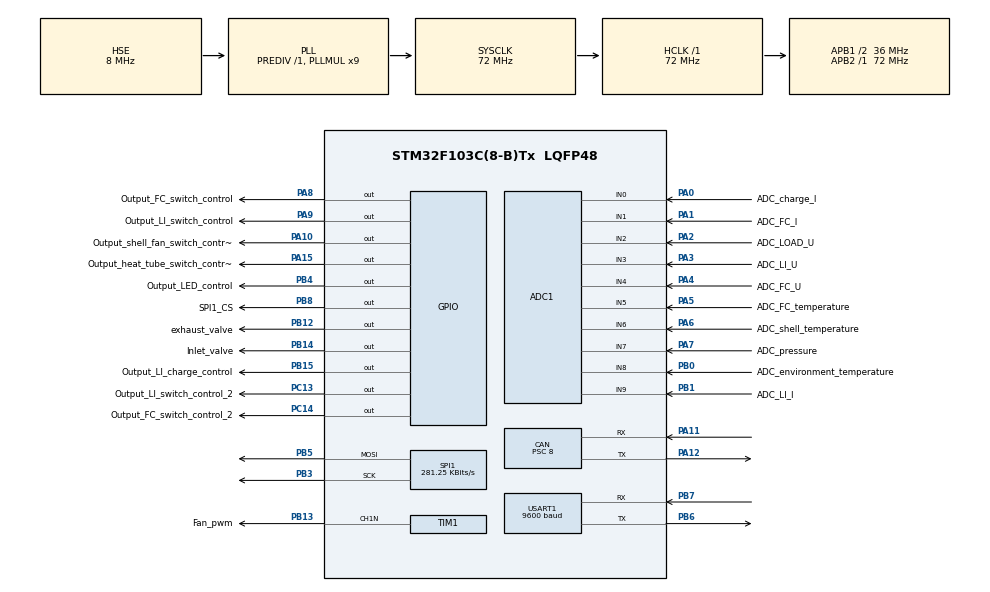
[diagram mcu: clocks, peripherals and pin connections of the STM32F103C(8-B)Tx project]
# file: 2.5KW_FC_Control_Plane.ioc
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ADC1.Channel-0\#ChannelRegularConversion=ADC_CHANNEL_0
ADC1.Channel-1\#ChannelRegularConversion=ADC_CHANNEL_1
ADC1.Channel-2\#ChannelRegularConversion=ADC_CHANNEL_2
ADC1.Channel-3\#ChannelRegularConversion=ADC_CHANNEL_3
ADC1.Channel-4\#ChannelRegularConversion=ADC_CHANNEL_4
ADC1.Channel-5\#ChannelRegularConversion=ADC_CHANNEL_5
ADC1.Channel-6\#ChannelRegularConversion=ADC_CHANNEL_6
ADC1.Channel-7\#ChannelRegularConversion=ADC_CHANNEL_7
ADC1.Channel-8\#ChannelRegularConversion=ADC_CHANNEL_8
ADC1.Channel-9\#ChannelRegularConversion=ADC_CHANNEL_9
ADC1.DataAlign=ADC_DATAALIGN_RIGHT
ADC1.DiscontinuousConvMode=ENABLE
ADC1.NbrOfConversion=10
ADC1.NbrOfConversionFlag=1
ADC1.Rank-0\#ChannelRegularConversion=1
ADC1.Rank-1\#ChannelRegularConversion=2
ADC1.Rank-2\#ChannelRegularConversion=3
ADC1.Rank-3\#ChannelRegularConversion=4
ADC1.Rank-4\#ChannelRegularConversion=5
ADC1.Rank-5\#ChannelRegularConversion=6
ADC1.Rank-6\#ChannelRegularConversion=7
ADC1.Rank-7\#ChannelRegularConversion=8
ADC1.Rank-8\#ChannelRegularConversion=9
ADC1.Rank-9\#ChannelRegularConversion=10
ADC1.SamplingTime-0\#ChannelRegularConversion=ADC_SAMPLETIME_239CYCLES_5
ADC1.SamplingTime-1\#ChannelRegularConversion=ADC_SAMPLETIME_239CYCLES_5
ADC1.SamplingTime-2\#ChannelRegularConversion=ADC_SAMPLETIME_239CYCLES_5
ADC1.SamplingTime-3\#ChannelRegularConversion=ADC_SAMPLETIME_239CYCLES_5
ADC1.SamplingTime-4\#ChannelRegularConversion=ADC_SAMPLETIME_239CYCLES_5
ADC1.SamplingTime-5\#ChannelRegularConversion=ADC_SAMPLETIME_239CYCLES_5
ADC1.SamplingTime-6\#ChannelRegularConversion=ADC_SAMPLETIME_239CYCLES_5
ADC1.SamplingTime-7\#ChannelRegularConversion=ADC_SAMPLETIME_239CYCLES_5
ADC1.SamplingTime-8\#ChannelRegularConversion=ADC_SAMPLETIME_239CYCLES_5
ADC1.SamplingTime-9\#ChannelRegularConversion=ADC_SAMPLETIME_239CYCLES_5
ADC1.master=1
CAN.ABOM=DISABLE
CAN.AWUM=DISABLE
CAN.BS1=CAN_BS1_9TQ
CAN.BS2=CAN_BS2_8TQ
CAN.CalculateTimeBit=4000
CAN.CalculateTimeQuantum=222.22222222222223
CAN.NART=ENABLE
CAN.Prescaler=8
CAN.RFLM=DISABLE
CAN.TTCM=DISABLE
CAN.TXFP=DISABLE
Mcu.Family=STM32F1
Mcu.Name=STM32F103C(8-B)Tx
Mcu.Package=LQFP48
NVIC.PriorityGroup=NVIC_PRIORITYGROUP_4
NVIC.TIM2_IRQn=true\:0\:0\:false\:false\:true\:true
NVIC.USART1_IRQn=true\:0\:0\:false\:false\:true\:true
PA0-WKUP.GPIO_Label=ADC_charge_I
PA0-WKUP.Signal=ADCx_IN0
PA1.GPIO_Label=ADC_FC_I
PA1.Signal=ADCx_IN1
PA10.GPIO_Label=Output_shell_fan_switch_control
PA10.Signal=GPIO_Output
PA11.Mode=Master
PA11.Signal=CAN_RX
PA12.Mode=Master
PA12.Signal=CAN_TX
PA13.Mode=Serial_Wire
PA13.Signal=SYS_JTMS-SWDIO
PA14.Mode=Serial_Wire
PA14.Signal=SYS_JTCK-SWCLK
PA15.GPIO_Label=Output_heat_tube_switch_control
PA15.Signal=GPIO_Output
PA2.GPIO_Label=ADC_LOAD_U
PA2.Signal=ADCx_IN2
PA3.GPIO_Label=ADC_LI_U
PA3.Signal=ADCx_IN3
PA4.GPIO_Label=ADC_FC_U
PA4.Signal=ADCx_IN4
PA5.GPIO_Label=ADC_FC_temperature
PA5.Signal=ADCx_IN5
PA6.GPIO_Label=ADC_shell_temperature
PA6.Signal=ADCx_IN6
PA7.GPIO_Label=ADC_pressure
PA7.Signal=ADCx_IN7
PA8.GPIO_Label=Output_FC_switch_control
PA8.Signal=GPIO_Output
PA9.GPIO_Label=Output_LI_switch_control
PA9.Signal=GPIO_Output
PB0.GPIO_Label=ADC_environment_temperature
PB0.Signal=ADCx_IN8
PB1.GPIO_Label=ADC_LI_I
PB1.Signal=ADCx_IN9
PB12.GPIO_Label=exhaust_valve
PB12.Signal=GPIO_Output
PB13.GPIO_Label=Fan_pwm
PB13.GPIO_Speed=GPIO_SPEED_FREQ_HIGH
PB13.Mode=PWM Generation1 CH1N
PB13.Signal=TIM1_CH1N
PB14.GPIO_Label=Inlet_valve
PB14.Signal=GPIO_Output
PB15.GPIO_Label=Output_LI_charge_control
PB15.Signal=GPIO_Output
PB3.Mode=TX_Only_Simplex_Unidirect_Master
PB3.Signal=SPI1_SCK
PB4.GPIO_Label=Output_LED_control
PB4.Signal=GPIO_Output
PB5.Mode=TX_Only_Simplex_Unidirect_Master
PB5.Signal=SPI1_MOSI
PB6.Mode=Asynchronous
PB6.Signal=USART1_TX
PB7.Mode=Asynchronous
PB7.Signal=USART1_RX
PB8.GPIO_Label=SPI1_CS
PB8.Signal=GPIO_Output
PC13-TAMPER-RTC.GPIO_Label=Output_LI_switch_control_2
PC13-TAMPER-RTC.Signal=GPIO_Output
PC14-OSC32_IN.GPIO_Label=Output_FC_switch_control_2
PC14-OSC32_IN.Signal=GPIO_Output
PD0-OSC_IN.Mode=HSE-External-Oscillator
PD0-OSC_IN.Signal=RCC_OSC_IN
PD1-OSC_OUT.Mode=HSE-External-Oscillator
PD1-OSC_OUT.Signal=RCC_OSC_OUT
ProjectManager.HeapSize=0x200
ProjectManager.StackSize=0x400
ProjectManager.TargetToolchain=MDK-ARM V5
RCC.ADCPresc=RCC_ADCPCLK2_DIV6
RCC.AHBFreq_Value=72000000
RCC.APB1CLKDivider=RCC_HCLK_DIV2
RCC.APB1Freq_Value=36000000
RCC.APB1TimFreq_Value=72000000
RCC.APB2Freq_Value=72000000
RCC.APB2TimFreq_Value=72000000
RCC.HCLKFreq_Value=72000000
RCC.PLLMUL=RCC_PLL_MUL9
RCC.PLLSourceVirtual=RCC_PLLSOURCE_HSE
RCC.PREFETCH_ENABLE=1
RCC.SYSCLKFreq_VALUE=72000000
RCC.SYSCLKSource=RCC_SYSCLKSOURCE_PLLCLK
RCC.USBFreq_Value=72000000
SH.ADCx_IN0.0=ADC1_IN0,IN0
SH.ADCx_IN1.0=ADC1_IN1,IN1
SH.ADCx_IN2.0=ADC1_IN2,IN2
SH.ADCx_IN3.0=ADC1_IN3,IN3
SH.ADCx_IN4.0=ADC1_IN4,IN4
SH.ADCx_IN5.0=ADC1_IN5,IN5
SH.ADCx_IN6.0=ADC1_IN6,IN6
SH.ADCx_IN7.0=ADC1_IN7,IN7
SH.ADCx_IN8.0=ADC1_IN8,IN8
SH.ADCx_IN9.0=ADC1_IN9,IN9
SPI1.BaudRatePrescaler=SPI_BAUDRATEPRESCALER_256
SPI1.CalculateBaudRate=281.25 KBits/s
SPI1.Direction=SPI_DIRECTION_2LINES
SPI1.FirstBit=SPI_FIRSTBIT_MSB
SPI1.Mode=SPI_MODE_MASTER
SPI1.VirtualType=VM_MASTER
TIM1.AutoReloadPreload=TIM_AUTORELOAD_PRELOAD_ENABLE
TIM1.Channel-PWM\ Generation1\ CH1N=TIM_CHANNEL_1
TIM1.OCMode_PWM-PWM\ Generation1\ CH1N=TIM_OCMODE_PWM2
TIM1.OCNPolarity_1=TIM_OCNPOLARITY_HIGH
TIM1.Period=99
TIM1.Prescaler=35
TIM1.TIM_MasterOutputTrigger=TIM_TRGO_OC1REF
TIM2.AutoReloadPreload=TIM_AUTORELOAD_PRELOAD_ENABLE
TIM2.Period=999
TIM2.Prescaler=71
USART1.BaudRate=9600
USART1.VirtualMode=VM_ASYNC
VP_TIM2_VS_ClockSourceINT.Mode=Internal
board=custom

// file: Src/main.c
/* USER CODE BEGIN Header */
/**
  ******************************************************************************
  * @file           : main.c
  * @brief          : Main program body
  ******************************************************************************
  ** This notice applies to any and all portions of this file
  * that are not between comment pairs USER CODE BEGIN and
  * USER CODE END. Other portions of this file, whether
  * inserted by the user or by software development tools
  * are owned by their respective copyright owners.
  *
  * COPYRIGHT(c) 2019 STMicroelectronics
  *
  * Redistribution and use in source and binary forms, with or without modification,
  * are permitted provided that the following conditions are met:
  *   1. Redistributions of source code must retain the above copyright notice,
  *      this list of conditions and the following disclaimer.
  *   2. Redistributions in binary form must reproduce the above copyright notice,
  *      this list of conditions and the following disclaimer in the documentation
  *      and/or other materials provided with the distribution.
  *   3. Neither the name of STMicroelectronics nor the names of its contributors
  *      may be used to endorse or promote products derived from this software
  *      without specific prior written permission.
  *
  * THIS SOFTWARE IS PROVIDED BY THE COPYRIGHT HOLDERS AND CONTRIBUTORS "AS IS"
  * AND ANY EXPRESS OR IMPLIED WARRANTIES, INCLUDING, BUT NOT LIMITED TO, THE
  * IMPLIED WARRANTIES OF MERCHANTABILITY AND FITNESS FOR A PARTICULAR PURPOSE ARE
  * DISCLAIMED. IN NO EVENT SHALL THE COPYRIGHT HOLDER OR CONTRIBUTORS BE LIABLE
  * FOR ANY DIRECT, INDIRECT, INCIDENTAL, SPECIAL, EXEMPLARY, OR CONSEQUENTIAL
  * DAMAGES (INCLUDING, BUT NOT LIMITED TO, PROCUREMENT OF SUBSTITUTE GOODS OR
  * SERVICES; LOSS OF USE, DATA, OR PROFITS; OR BUSINESS INTERRUPTION) HOWEVER
  * CAUSED AND ON ANY THEORY OF LIABILITY, WHETHER IN CONTRACT, STRICT LIABILITY,
  * OR TORT (INCLUDING NEGLIGENCE OR OTHERWISE) ARISING IN ANY WAY OUT OF THE USE
  * OF THIS SOFTWARE, EVEN IF ADVISED OF THE POSSIBILITY OF SUCH DAMAGE.
  *
  ******************************************************************************
  */
/* USER CODE END Header */

#include "main.h"
#include "adc.h"
#include "can.h"
#include "spi.h"
#include "tim.h"
#include "usart.h"
#include "gpio.h"

/* USER CODE BEGIN PD */

volatile  uint16_t temperature;                      //FC温度
uint8_t	  FC_Start_flag;          				     //FC启停标志
uint16_t  FC_I;                 				     //FC电流
uint16_t  FC_U;                 				     //FC电压
uint32_t  Load_power;                                //负载功率
uint16_t  LI_I;                 				     //LI电流
uint16_t  LI_U;                 				     //LI电压
uint16_t  LI_charge_I;                 				 //LI充电电流
uint16_t  LOAD_U;                                    //负载电压
uint16_t  FC_pressure;                 				 //FC进气压力
uint16_t  gas_cylinder_pressure;					 //气瓶压力
uint16_t  shell_temperature;                         //外壳温度
float     environment_temperature;                   //环境温度
uint16_t  temperature_record[TEMPERATURE_NUMBER];    //每秒温度记录
uint8_t   Exhaust_valves_flag;   					 //开启排气标志; 置1:进入排气;  置0：不需要排气
uint8_t   Exhaust_status;       				     //排气阀开关状态
uint8_t   Inlet_valves_flag;     					 //开启进气阀标志: 置1:需打开进气;  置0：不需要打开
uint16_t  temperature_counter;						 //温度计数器(最大计数655.35秒)
float     electricity_counter;  					 //电流计数器
float     ntc_R;                                     //热敏电阻值（型号3950）
float     shell_ntc_R;                               //热敏电阻值（型号3950）
uint16_t  communication_counter;					 //通讯计数器
uint16_t  pretemperature_counter;					 //上一温度计数器
uint16_t  pretemperature;       					 //记录上一次温度 5s更新一次
uint16_t  mbtemperature;       						 //目标温度
uint16_t  temperature_rate;    						 //升温速率
uint16_t  Exhaust_valves_counter; 					 //排气阀间隔计数器
uint16_t  FC_Start_exhaust_counter;					 //FC开机排气计数器
uint32_t  Exhaust_specific_counter;					 //排气阀特殊计数器（定时一段时间内强排几秒）
uint8_t   PWM_VAL;               					 //风扇转速百分比
uint8_t   temperature_tendency; 					 //温度走势 1:升温; 0:降温或稳定
uint8_t   FC_Start_exhaust_flag;                     //1：电堆开机正在排气标志  0：表示未处于开机排气状态
uint8_t   aTxStartMessages[] = "\r\n******UART commucition using IT******\r\nPlease enter 10 characters:\r\n";
uint8_t   aRxBuffer[20];
uint8_t   ready_to_go;								 //检测系统是否正常 正常：1  异常：2

/* USER CODE END PD */

/* USER CODE BEGIN PV */

/**************************************************************************************
* Variable definition
**************************************************************************************/
void Task_USART1_Printf(void)
{

	printf("****************BEGIN LINE********************\r\n");

	  printf("temperature = %.2f ℃ \r\n",(float)temperature*0.01);
	  printf("mbtemperature = %.2f ℃ \r\n",(float)mbtemperature*0.01);
	  printf("PWM_VAL = %d \r\n",PWM_VAL);
	  printf("environment_temperature = %.2f ℃ \r\n",environment_temperature);
	  printf("shell_temperaturen = %.2f ℃ \r\n",(float)shell_temperature*0.01);
	  printf("FC_U = %.2f V \r\n",(float)FC_U*0.01);
	  printf("FC_I = %.2f A \r\n",(float)FC_I*0.01);
	  printf("LI_U = %.2f V \r\n",(float)LI_U*0.01);
	  printf("LI_I = %.2f A \r\n",(float)LI_I*0.01);
	  printf("LOAD_U = %.2f V \r\n",(float)LOAD_U*0.01);
	  printf("charge_I = %.2f A \r\n",(float)LI_charge_I*0.01);
	  printf("FC_power = %.2f W \r\n",(float)(FC_U*FC_I)*0.0001);
	  printf("gas_cilinder_pressure = %d MPa \r\n",gas_cylinder_pressure);
	  printf("Exhaust_specific_counter = %d \r\n",Exhaust_specific_counter);
	  printf("electricity_counter  = %d \r\n",(uint16_t)electricity_counter);
	  printf("FC_Start_flag  = %d  \r\n",FC_Start_flag);
	  printf("ready_to_go  = %d  \r\n",ready_to_go);

//	  printf("ADC_data[1] = %d \r\n",ADC_data[1]);

//	printf("FC_U = %.2f V\r\n",(float)FC_U*0.01);
//	printf("FC_I = %.2f A\r\n",(float)FC_I*0.01);
//	//printf("FC_Pressure = %d \r\n",ADC_data[0]);
//	printf("temperature = %.2f ℃\r\n",(float)temperature*0.01);
//	printf("mbtemperature = %.2f ℃\r\n",(float)mbtemperature*0.01);
//
//	printf("PWM_VAL = %d \r\n",PWM_VAL);
//	printf("temperature_rate = %d \r\n",temperature_rate);
//	printf("electricity_counter  = %d \r\n",(uint16_t)electricity_counter);
//	printf("Exhaust_status = %d \r\n",Exhaust_status);
//	printf("Exhaust_specific_counter = %d \r\n",Exhaust_specific_counter);
//	printf("FC_Start_flag  = %d  \r\n",FC_Start_flag);
	printf("****************END LINE**********************\r\n");

}

void Task_FC_Start_and_Close(void)
{
//	//负载功率大于900W，打开进气阀,打开FC输出通路
//	if(Load_power > FC_START_POWER && Inlet_valves_flag == 0)
//	{
//		INLET_ON;
//		Inlet_valves_flag = 1;
//		FC_SWITCH_ON_2;
//		FC_SWITCH_ON;
//
//
//	}
//
//
//	//负载功率小于800W，关闭进气阀,关闭FC输出通路，打开加热管通道
//	if(Load_power < FC_CLOSE_POWER && Inlet_valves_flag == 1)
//	{
//		INLET_OFF;
//		Inlet_valves_flag = 0;
//		FC_SWITCH_OFF;
//		FC_SWITCH_OFF_2;
//		HAL_GPIO_WritePin(GPIOA,GPIO_PIN_15,GPIO_PIN_RESET);
//
//	}
//

	//FC启动状态位为0时，且电压高于启动电压时且开机标志位不为1时，开始FC开机排气流程，并将FC启动状态（在排气程序里Task_Exhaust_valves_control）置1
	if(FC_Start_flag == 0 && FC_U > FC_START_VOLTAGE && FC_Start_exhaust_flag == 0)
	{
		FC_Start_exhaust_flag = 1;    //开机排气标志置1
		PWM_VAL = MIN_RUNING_PWM_VAL;
		TIM_SetCompare3(TIM4,PWM_VAL);

	}
	//!!!!!!!!!!!!!!!!!!!!!!!!!!!!!!!!!   FC_U < 多少时初始化？   !!!!!!!!!!!!!!!!!!!!!!!!!!!!!!!!!!!!!!//

	if(FC_Start_flag == 0 && FC_U < FC_START_VOLTAGE && FC_Start_exhaust_flag == 0)
	{

		//FC_Start_exhaust_counter = 0; //当FC未开启且电压低于关机电压时，FC开机排气计数器清0

		//FC关机状态时初始化风扇转速和一些计数器
		Exhaust_specific_counter = 0;  //特定强制排气计数器清0;
		Exhaust_valves_flag = 0;       //排气标志位置0
		electricity_counter = 0;       //电流累加计数器清0
		EXHAUST_OFF;
		Exhaust_status = 0;         //排气阀状态位置0
		PWM_VAL = MIN_PWM_VAL;         //FC关机风扇保持最低转速
		TIM_SetCompare3(TIM4,PWM_VAL);

	}

	if(FC_Start_flag == 1 && FC_U < FC_CLOSE_VOLTAGE && FC_Start_exhaust_flag == 0)
	{
		FC_Start_flag = 0;         //FC启动状态置0
		PWM_VAL = 0;				//FC关机风扇保持最低转速
		EXHAUST_OFF; //关闭排气阀
		Exhaust_status = 0;         //排气阀状态位置0
		TIM_SetCompare3(TIM4,PWM_VAL);

		HAL_GPIO_WritePin(GPIOA,GPIO_PIN_15,GPIO_PIN_SET);  //降到20V时关闭加热通道2019-05-17
	}

	//0.5秒开机自检与巡检
	if(FC_Start_exhaust_flag == 0)
	{
		if(  FC_U <= 100 && FC_I <= 100 &&
			 LI_I < 500 && LI_U > 4400 && LI_U <= 5000 &&
			 temperature < 4000 && shell_temperature < 4000 &&
			gas_cylinder_pressure <= 2 )
		{
			ready_to_go = 1;
		}
		else
		{
			ready_to_go = 0;
		}

	}
	else if(FC_Start_flag == 1)
	{
		if( FC_U >= 4500 && FC_U < 8000 && FC_I <= 6000 &&
			LI_I < 5500 && LI_U >= 4400 && LI_U <= 5000 &&
			temperature > 0 && temperature < 5500 &&
			shell_temperature < 6500 &&
			gas_cylinder_pressure > 5 && gas_cylinder_pressure <= 35 )
		{
			ready_to_go = 1;
		}
		else
		{
			ready_to_go = 0;
		}

	}

}
//0.05s执行一次
void Task_Exhaust_valves_control(void)
{

	//FC开机完成进入正常电流累加排气流程
	if(FC_Start_flag == 1)
	{
		//开启排气阀标志置1且FC启动标志位置1,排气阀状态关闭---->开启排气
		if(Exhaust_valves_flag == 1 && Exhaust_status == 0 )
		{
			EXHAUST_ON;
			Exhaust_valves_counter = 0; //排气时间计数器清0
			Exhaust_valves_flag = 0;//排气标志位置0
			Exhaust_status = 1;		//排气阀状态置1
		}

		//判断特定强制排气计数器是否到时，到时：执行强制排气 ，未到时：执行正常排气
		if(Exhaust_specific_counter > EXHAUST_SPECIFIC_TIME)
		{

			if( (Exhaust_valves_counter > EXHAUST_SPECIFIC_TIMING)  && Exhaust_status == 1)
			{
				Exhaust_valves_counter = 0;    //排气时间计数器清0
				Exhaust_specific_counter = 0; //特定强制排气计数器清0
				Exhaust_status = 0;           //排气阀状态置0
				EXHAUST_OFF; //关闭排气阀
			}
		}
		else
		{
			if( (Exhaust_valves_counter > EXHAUST_TIME)  && Exhaust_status == 1)
			{
				Exhaust_valves_counter = 0;		//排气时间计数器清0
				Exhaust_status = 0;				//排气阀状态置0
				EXHAUST_OFF;
			}
		}
	}
	else if(FC_Start_flag == 0 && FC_Start_exhaust_flag == 1)     //2019-03-15:修改为电压超过开机电压就会开机排气
	{
		if(Exhaust_status == 0 )
		{
			EXHAUST_ON;
			FC_Start_exhaust_counter = 0;  //开始排气时间计数器清0
			Exhaust_status = 1; //排气阀状态置1
		}
		if(FC_Start_exhaust_counter > FC_START_EXHAUST_TIME && Exhaust_status == 1)
		{
			FC_Start_exhaust_counter = 0; //开机排气时间计数器清0
			Exhaust_status = 0;     //排气阀状态置0
			FC_Start_exhaust_flag = 0;//开机完成，清除开机排气标志
			FC_Start_flag = 1; //开机标志置1
			EXHAUST_OFF; //关闭排气阀

		}
	}
}
//0.1s执行一次
void Task_Exhaust_valves_count(void)
{

	//当且仅当电流累加计数器到时，排气标志位为0，且排气阀开关状态为关闭时，---->排气标志位置1
	if( (electricity_counter > EXHAUST_VALVES_COUNTER_NUMBER) && Exhaust_valves_flag == 0 && Exhaust_status == 0)
	{
		Exhaust_valves_flag = 1;//排气标志置1
		electricity_counter = 0;//电流累加计数器清0
	}
	//当且仅当特定强制排气计数器到时，排气标志位为0，且排气阀开关状态为关闭时，---->排气标志位置1
	if( (Exhaust_specific_counter > EXHAUST_SPECIFIC_TIME) && Exhaust_valves_flag == 0 && Exhaust_status == 0)
	{
		Exhaust_valves_flag = 1;//排气标志置1
	}

}

//0829递归二分查表法
int recurbinary(float *a, float key, int low, int high)
{
	int mid = (low+high)/2;

	if(a[low] < key)
	{
		return low;
	}
	else if(a[high] > key)
	{
		return high;
	}

	if(a[mid+1]<=key && a[mid-1]>=key)
	{
		if(a[mid+1]<=key&&a[mid]>=key)
		{
			return mid+1;
		}else
		{
			return mid;
		}
	}
	else if(a[mid] < key)
	{
		return recurbinary(a, key, low, mid);
	}
	else
	{
		return recurbinary(a, key, mid, high);
	}

}

void Task_Max6675_temp(void)
{

			/*0829热敏电阻温度对照数组 （-30℃ ~ 119℃）*/
		float Thermistor[] = {157.2,   148.1,   139.4,   131.3,   123.7,   116.6,   110.0,   103.7,   97.9,   92.50,
							  87.43,   82.79,   78.44,   74.36,   70.53,   66.92,   63.54,   60.34,   57.33,  54.50,
							  51.82,   49.28,   46.89,   44.62,   42.48,   40.45,   38.53,   36.70,   34.97,  33.33,
							  31.77,   30.25,   28.82,   27.45,   26.16,   24.94,   23.77,   22.67,   21.62,  20.63,
							  19.68,   18.78,   17.93,   17.12,   16.35,   15.62,   14.93,   14.26,   13.63,  13.04,
							  12.47,   11.92,   11.41,   10.91,   10.45,   10.00,   9.575,   9.170,   8.784,  8.416,
							  8.064,   7.730,   7.410,   7.106,   6.815,   6.538,   6.273,   6.020,   5.778,  5.548,
							  5.327,   5.117,   4.915,   4.723,   4.593,   4.363,   4.195,   4.034,   3.880,  3.733,
                              3.592,   3.457,   3.328,   3.204,   3.086,   2.972,   2.863,   2.759,   2.659,  2.564,
							  2.472,   2.384,   2.299,   2.218,   2.141,   2.066,   1.994,   1.926,   1.860,  1.796,
							  1.735,   1.677,   1.621,   1.567,   1.515,   1.465,   1.417,   1.371,   1.326,  1.284,
							  1.243,   1.203,   1.165,   1.128,   1.093,   1.059,   1.027,   0.996,   0.965,  0.936,
						  	  0.908,   0.881,   0.855,   0.830,   0.805,   0.782,   0.759,   0.737,   0.715,  0.695,
							  0.674,   0.656,   0.638,   0.620,   0.603,   0.586,   0.569,   0.554,   0.538,  0.523,
							  0.508,   0.494,   0.480,   0.467,   0.454,   0.441,   0.429,   0.417,   0.406,  0.399};

		temperature = (recurbinary(Thermistor, ntc_R, 0, 149) - 30)*100; //单位:100 * ℃

		shell_temperature = (recurbinary(Thermistor, shell_ntc_R, 0, 149) - 30)*100;	//单位:100 * ℃

		//超过40℃打开外壳风扇
		if(shell_temperature > SHELL_TEMPERATURE_HIGH)
		{
			SHELL_FAN_ON;
		}
		else
		{
			SHELL_FAN_OFF;
		}
//		float data[] =    {2001,  1948,  1899,  1856,  1810,  1765,  1717,  1677,  1634,  1591,
//						   1549,  1510,  1472,  1425,  1384,  1360,  1317,  1284,  1244,  1212,
//						   1175,  1143,  1110,  1077,  1051,  1022,  994,    963,   940,   901,
//							889,};
//		float data[] =    {2050,  2011,  1982,  1939,  1910,  1859,  1837,  1816,  1786,  1747,
//						   1705,  1691,  1641,  1280,  1308,  1326,  1461,  1378,  1410,  1428,
//						   1464,  1490,  1507,  1528,  1647,  1642,  1625,  1597};

//		if( Load_power >=1597 && Load_power <= 2050)
//		{

//			temperature = (recurbinary(data, Load_power, 0, 29) + 29)*100;

//		}
//
		Temprature_record_function();
}

void Task_FC_temprature_control(void)
{
	if(FC_Start_flag == 1)
	{
		mbtemperature=46*FC_I/100+2800;; //目标温度，精度0.01   温度控制曲线mbtemperature=5.8*I+25为基准。
		if(mbtemperature>5500)
		{
			mbtemperature=5500;
		}

		//高温措施
		if ((temperature>(mbtemperature-150))&&(temperature>pretemperature))
		{
			PWM_VAL=PWM_VAL+(temperature-mbtemperature)/150;
		}

		//低温措施
		if ((temperature<(mbtemperature+150))&&(temperature<pretemperature))
		{
			PWM_VAL=PWM_VAL-(mbtemperature-temperature)/150;
			if(PWM_VAL>MAX_PWM_VAL)
			{
				PWM_VAL=MIN_RUNING_PWM_VAL;
			}
		}

		//最低13转速
		if(PWM_VAL<MIN_RUNING_PWM_VAL)
		{
			PWM_VAL=MIN_RUNING_PWM_VAL;
		}
		//超高温强制开到100转速
		if(temperature>=5500||PWM_VAL>MAX_PWM_VAL)
		{
			PWM_VAL=MAX_PWM_VAL;
		}

		/*0828 需求：当电堆电压小于5v时，风扇停止转  */
		if(FC_U <= 500)
		{
			PWM_VAL = MIN_PWM_VAL;
		}

		/**0828 需求：当电堆电压小于5v时，风扇停止转_end  */

		TIM_SetCompare3(TIM4,PWM_VAL);
	}
}
void Task_emergency_temperature_contorl(void)
{
	if(FC_Start_flag == 1)
	{
		uint16_t maxtemperature = 0;
		uint16_t mintemperature = 0;

		for(uint8_t i=(TEMPERATURE_NUMBER-1); i>=(TEMPERATURE_NUMBER/2);i--)
		{
			maxtemperature = temperature_record[i] + maxtemperature;
		}

		for(uint8_t i=0; i<(TEMPERATURE_NUMBER/2);i++)
		{
			mintemperature = temperature_record[i] + mintemperature;
		}

		if(maxtemperature > mintemperature)
		{
			temperature_tendency = 1;
		}
		else
		{
			temperature_tendency = 0;
		}

		//当温度升温速率达到0.6℃/S,且处于升温状态时
		if(temperature_rate > 60 && temperature_tendency == 1)
		{
			PWM_VAL = MAX_PWM_VAL;
			TIM_SetCompare3(TIM4,PWM_VAL);
		}

	}
}
void Initialize_function(void)
{
	FC_SWITCH_OFF; //关闭FC输出通道2019-05-17
	FC_SWITCH_OFF_2; //关闭FC漏电流输出通道
//	FC_SWITCH_OFF_2;
//	FC_SWITCH_ON;
	HAL_GPIO_WritePin(GPIOA,GPIO_PIN_15,GPIO_PIN_SET);//关闭加热输出通道2019-05-17
//	LI_SWITCH_OFF_2;//打开LI电漏电流输出通道
//	LI_SWITCH_ON;//打开LI电输出通道2019-05-17
	LI_SWITCH_OFF;
	LI_SWITCH_OFF_2;
	HAL_GPIO_WritePin(GPIOB,GPIO_PIN_15,GPIO_PIN_SET);//关闭充电通道
	SHELL_FAN_ON; //打开外壳散热风扇
	HAL_GPIO_WritePin(GPIOB,GPIO_PIN_4,GPIO_PIN_SET); //打开LED灯
	HAL_GPIO_WritePin(GPIOB,GPIO_PIN_8,GPIO_PIN_SET); //拉高SPI1片选电平
	INLET_OFF;
	PWM_VAL = MIN_PWM_VAL;
	TIM_SetCompare3(TIM1,PWM_VAL);
}

static TASK_COMPONENTS TaskComps[] =
{
    {0, 30, 30, Task_Get_ADC_data},                           // ADC采集数据每(0.03*ADC_AVERAGE_TIME)秒一次
    {0, 1000, 1500, Task_USART1_Printf},                      // 串口1上位机调试
    {0, 200, 200, Task_Max6675_temp},           			  // 每0.2s刷新一次温度值;每5s刷新一次pretemperature;每1s刷新一次temperature_record
	{0, 5500, 2000, Task_FC_temprature_control},              // FC温度控制
	{0, 13000, 2000, Task_emergency_temperature_contorl},     // FC温度紧急控制措施 //初始化13s进入
	{0, 75, 75, Task_Exhaust_valves_control},                 // FC排气到时，控制排气持续时间(理论排气0.225s）
	{0, 100, 100, Task_Exhaust_valves_count},    			  // FC排气计数器控制排气标志位
	{0, 1500, 1500,Task_environment_temperature},			  // 环境温度采集
	{1, 500, 500, Task_FC_Start_and_Close},    				  // FC开关机函数
     // 这里添加你的任务。。。。
};

/* USER CODE END PV */

void SystemClock_Config(void);

/* USER CODE BEGIN 0 */

//USART1接受中断服务程序
void HAL_UART_RxCpltCallback(UART_HandleTypeDef *huart)
{
	UNUSED(huart);
	HAL_UART_Transmit(&huart1,(uint8_t*)aRxBuffer,10,0xFFFF);   //(uint8_t*)aRxBuffer为字符串地址，10为字符串长度，0xFFFF为超时时间
}

/**************************************************************************************
* FunctionName   : TaskRemarks()
* Description    : 任务标志处理
* EntryParameter : None
* ReturnValue    : None
**************************************************************************************/
void TaskRemarks(void)
{
    uint8_t i;
    for (i=0; i<TASKS_MAX; i++)          // 逐个任务时间处理
    {
         if (TaskComps[i].Timer)          // 时间不为0
        {
            TaskComps[i].Timer--;         // 减去一个节拍
            if (TaskComps[i].Timer == 0)       // 时间减完了
            {
                 TaskComps[i].Timer = TaskComps[i].ItvTime;       // 恢复计时器值，从新下一次
                 TaskComps[i].Run = 1;           // 任务可以运行
            }
        }
    }
}

//定时器定时1ms中断
void HAL_TIM_PeriodElapsedCallback(TIM_HandleTypeDef *htim)
{
	TaskRemarks();
	temperature_counter++;          //温度计数器累加
	communication_counter++;		//通讯计数器累加
	pretemperature_counter++;	  	//上一温度计数器累加
	Exhaust_valves_counter++;       //排气时间计数器
	Exhaust_specific_counter++;     //排气阀特殊计数器（定时一段时间内强排几秒）
	FC_Start_exhaust_counter++;     //电堆开机持续排气时间计数器

		//排气开关根据电流累加计数器计数打开，设置最长打开排气阀时间为：。。。
	if(FC_I <= 100)
	{
		electricity_counter = electricity_counter + 0.01; //小于1A时最长打开排气时间为EXHAUST_VALVES_COUNTER_NUMBER除以10；
	}
	else
	{
		electricity_counter += FC_I * 0.0001;
	}

}
/**************************************************************************************
* FunctionName   : TaskProcess()
* Description    : 任务处理
* EntryParameter : None
* ReturnValue    : None
**************************************************************************************/
void TaskProcess(void)
{
    uint8_t i;
    for (i=0; i<TASKS_MAX; i++)               // 逐个任务时间处理
    {
         if (TaskComps[i].Run)                // 时间不为0
        {
             TaskComps[i].TaskHook();         // 运行任务
             TaskComps[i].Run = 0;            // 标志清0
        }
    }
}

/* USER CODE END 0 */

int main(void)
{

  /* MCU Configuration--------------------------------------------------------*/

  /* Reset of all peripherals, Initializes the Flash interface and the Systick. */
  HAL_Init();

  /* Configure the system clock */
  SystemClock_Config();

  /* Initialize all configured peripherals */
  MX_GPIO_Init();
  MX_ADC1_Init();
  MX_TIM1_Init();
  MX_TIM2_Init();
  MX_CAN_Init();
  MX_USART1_UART_Init();
  MX_SPI1_Init();
  /* USER CODE BEGIN 2 */

	Initialize_function();//系统初始化

	HAL_DBGMCU_EnableDBGStopMode();

  /* USER CODE END 2 */

  /* Infinite loop */
  while (1)
  {

    /* USER CODE BEGIN 3 */

//FC自动控制代码
#if (1-FUNCTION_TEXT)

	  TaskProcess();

#endif

//功能测试代码
#if FUNCTION_TEXT

	  HAL_Delay(500);

	  Task_Get_ADC_data();
	  Task_Max6675_temp();
	  Task_environment_temperature();//环境温度
	  TIM_SetCompare3(TIM1,PWM_VAL);
	  MCP41010_write_bite();
	  PWM_VAL += 10;

	  EXHAUST_ON;
	  INLET_ON;

	  printf("#####################################\r\n");
	  printf("temperature = %.2f ℃ \r\n",(float)temperature*0.01);
	  printf("environment_temperature = %.2f ℃\r\n",environment_temperature);
	  printf("shell_temperaturen = %.2f ℃ \r\n",(float)shell_temperature*0.01);
	  printf("gas_cilinder_pressure = %d MPa \r\n",gas_cylinder_pressure);
	  printf("FC_U = %.2f V \r\n",(float)FC_U*0.01);
	  printf("FC_I = %.2f A \r\n",(float)FC_I*0.01);
	  printf("LI_U = %.2f V \r\n",(float)LI_U*0.01);
	  printf("LI_I = %.2f A \r\n",(float)LI_I*0.01);
	  printf("LOAD_U = %.2f V \r\n",(float)LOAD_U*0.01);
	  printf("charge_I = %.2f A \r\n",(float)LI_charge_I*0.01);
	  printf("FC_power = %.2f W  \r\n",(float)(FC_U*FC_I)*0.0001);
	  printf("NTC = %.3f \r\n",ntc_R);
	  printf("PWM = %d \r\n",PWM_VAL);
	  printf("ADC_data[5] = %d \r\n",ADC_data[5]);
	  printf("ADC_data[5] = %d  \r\n",Load_power);
	  printf("#####################################\r\n");

//	  printf("ntc_R = %.3f \r\n",ntc_R);
//	  printf("ADC_data[0] = %d \r\n",ADC_data[0]);
//	  printf("ADC_data[1] = %d \r\n",ADC_data[1]);
//	  printf("ADC_data[2] = %d \r\n",ADC_data[2]);
//	  printf("ADC_data[3] = %d \r\n",ADC_data[3]);
//	  printf("ADC_data[4] = %d \r\n",ADC_data[4]);
//	  printf("ADC_data[5] = %d \r\n",ADC_data[5]);
//	  printf("ADC_data[6] = %d \r\n",ADC_data[6]);
//	  printf("ADC_data[8] = %d \r\n",ADC_data[8]);
//	  printf("ADC_data[9] = %d \r\n",ADC_data[9]);

	  if(PWM_VAL >= 110)
	  {
		  PWM_VAL = 0;
	  }
	  HAL_Delay(500);

	  EXHAUST_OFF;
	  INLET_OFF;

	  TIM_SetCompare3(TIM1,PWM_VAL);

#endif

  }
  /* USER CODE END 3 */
}

void SystemClock_Config(void)
{
  RCC_OscInitTypeDef RCC_OscInitStruct = {0};
  RCC_ClkInitTypeDef RCC_ClkInitStruct = {0};
  RCC_PeriphCLKInitTypeDef PeriphClkInit = {0};

  /**Initializes the CPU, AHB and APB busses clocks
  */
  RCC_OscInitStruct.OscillatorType = RCC_OSCILLATORTYPE_HSE;
  RCC_OscInitStruct.HSEState = RCC_HSE_ON;
  RCC_OscInitStruct.HSEPredivValue = RCC_HSE_PREDIV_DIV1;
  RCC_OscInitStruct.HSIState = RCC_HSI_ON;
  RCC_OscInitStruct.PLL.PLLState = RCC_PLL_ON;
  RCC_OscInitStruct.PLL.PLLSource = RCC_PLLSOURCE_HSE;
  RCC_OscInitStruct.PLL.PLLMUL = RCC_PLL_MUL9;
  if (HAL_RCC_OscConfig(&RCC_OscInitStruct) != HAL_OK)
  {
    Error_Handler();
  }
  /**Initializes the CPU, AHB and APB busses clocks
  */
  RCC_ClkInitStruct.ClockType = RCC_CLOCKTYPE_HCLK|RCC_CLOCKTYPE_SYSCLK
                              |RCC_CLOCKTYPE_PCLK1|RCC_CLOCKTYPE_PCLK2;
  RCC_ClkInitStruct.SYSCLKSource = RCC_SYSCLKSOURCE_PLLCLK;
  RCC_ClkInitStruct.AHBCLKDivider = RCC_SYSCLK_DIV1;
  RCC_ClkInitStruct.APB1CLKDivider = RCC_HCLK_DIV2;
  RCC_ClkInitStruct.APB2CLKDivider = RCC_HCLK_DIV1;

  if (HAL_RCC_ClockConfig(&RCC_ClkInitStruct, FLASH_LATENCY_2) != HAL_OK)
  {
    Error_Handler();
  }
  PeriphClkInit.PeriphClockSelection = RCC_PERIPHCLK_ADC;
  PeriphClkInit.AdcClockSelection = RCC_ADCPCLK2_DIV6;
  if (HAL_RCCEx_PeriphCLKConfig(&PeriphClkInit) != HAL_OK)
  {
    Error_Handler();
  }
}

void Error_Handler(void)
{
}

/************************ (C) COPYRIGHT STMicroelectronics *****END OF FILE****/
